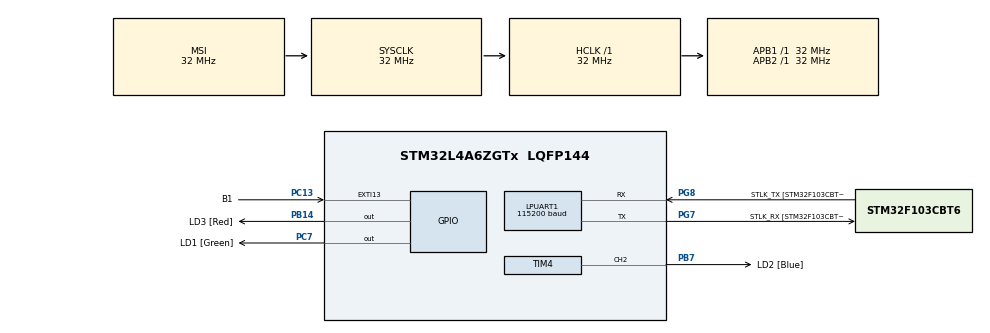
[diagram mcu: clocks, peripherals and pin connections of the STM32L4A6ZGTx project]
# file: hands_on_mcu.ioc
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LPUART1.AutoBaudRateEnableParam=UART_ADVFEATURE_AUTOBAUDRATE_DISABLE
LPUART1.BaudRate=115200
LPUART1.DMADisableonRxErrorParam=UART_ADVFEATURE_DMA_ENABLEONRXERROR
LPUART1.DataInvertParam=UART_ADVFEATURE_DATAINV_DISABLE
LPUART1.MSBFirstParam=UART_ADVFEATURE_MSBFIRST_DISABLE
LPUART1.Mode=UART_MODE_TX_RX
LPUART1.OneBitSampling=UART_ONE_BIT_SAMPLE_DISABLE
LPUART1.OverrunDisableParam=UART_ADVFEATURE_OVERRUN_ENABLE
LPUART1.Parity=UART_PARITY_NONE
LPUART1.RxPinLevelInvertParam=UART_ADVFEATURE_RXINV_DISABLE
LPUART1.StopBits=UART_STOPBITS_1
LPUART1.SwapParam=UART_ADVFEATURE_SWAP_DISABLE
LPUART1.TxPinLevelInvertParam=UART_ADVFEATURE_TXINV_DISABLE
LPUART1.WordLength=UART_WORDLENGTH_8B
Mcu.Family=STM32L4
Mcu.Name=STM32L4A6ZGTx
Mcu.Package=LQFP144
NVIC.EXTI15_10_IRQn=true\:0\:0\:false\:false\:true\:true\:true\:true
NVIC.PriorityGroup=NVIC_PRIORITYGROUP_4
PA13\ (JTMS/SWDIO).GPIO_Label=TMS
PA13\ (JTMS/SWDIO).Mode=Trace_Asynchronous_SW
PA13\ (JTMS/SWDIO).Signal=SYS_JTMS-SWDIO
PA14\ (JTCK/SWCLK).GPIO_Label=TCK
PA14\ (JTCK/SWCLK).Mode=Trace_Asynchronous_SW
PA14\ (JTCK/SWCLK).Signal=SYS_JTCK-SWCLK
PB14.GPIO_Label=LD3 [Red]
PB14.Signal=GPIO_Output
PB3\ (JTDO/TRACESWO).GPIO_Label=SWO
PB3\ (JTDO/TRACESWO).Mode=Trace_Asynchronous_SW
PB3\ (JTDO/TRACESWO).Signal=SYS_JTDO-SWO
PB7.Signal=S_TIM4_CH2
PC13.GPIO_Label=B1
PC13.Signal=GPXTI13
PB7.GPIO_Label=LD2 [Blue]
PC14-OSC32_IN\ (PC14).Mode=LSE-External-Oscillator
PC14-OSC32_IN\ (PC14).Signal=RCC_OSC32_IN
PC15-OSC32_OUT\ (PC15).Mode=LSE-External-Oscillator
PC15-OSC32_OUT\ (PC15).Signal=RCC_OSC32_OUT
PC7.GPIO_Label=LD1 [Green]
PC7.Signal=GPIO_Output
PG7.GPIO_Label=STLK_RX [STM32F103CBT6_PA3]
PG7.Mode=Asynchronous
PG7.Signal=LPUART1_TX
PG8.GPIO_Label=STLK_TX [STM32F103CBT6_PA2]
PG8.Mode=Asynchronous
PG8.Signal=LPUART1_RX
PH1-OSC_OUT\ (PH1).Signal=RCC_OSC_OUT
ProjectManager.HeapSize=0x200
ProjectManager.StackSize=0x400
ProjectManager.TargetToolchain=STM32CubeIDE
RCC.ADCFreq_Value=384000000
RCC.AHBFreq_Value=32000000
RCC.APB1Freq_Value=32000000
RCC.APB1TimFreq_Value=32000000
RCC.APB2Freq_Value=32000000
RCC.APB2TimFreq_Value=32000000
RCC.CortexFreq_Value=32000000
RCC.FLatency=FLASH_LATENCY_1
RCC.HCLKFreq_Value=32000000
RCC.HSE_VALUE=8000000
RCC.HSI48_VALUE=48000000
RCC.HSI_VALUE=16000000
RCC.MSIClockRange=RCC_MSIRANGE_10
RCC.MSI_VALUE=32000000
RCC.PLLN=71
RCC.PLLR=RCC_PLLR_DIV6
RCC.PLLSAI1N=24
RCC.SYSCLKFreq_VALUE=32000000
RCC.USBFreq_Value=384000000
RCC.VCOOutputFreq_Value=2272000000
SH.S_TIM4_CH2.0=TIM4_CH2,Output Compare2 CH2
TIM4.Channel-Output\ Compare2\ CH2=TIM_CHANNEL_2
TIM4.OCMode_2=TIM_OCMODE_TOGGLE
TIM4.Period=499
TIM4.Prescaler=31199
VP_TIM4_VS_ClockSourceINT.Mode=Internal
board=NUCLEO-L4A6ZG

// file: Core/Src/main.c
/* USER CODE BEGIN Header */
/**
  ******************************************************************************
  * @file           : main.c
  * @brief          : Main program body
  ******************************************************************************
  * @attention
  *
  * <h2><center>&copy; Copyright (c) 2021 STMicroelectronics.
  * All rights reserved.</center></h2>
  *
  * This software component is licensed by ST under BSD 3-Clause license,
  * the "License"; You may not use this file except in compliance with the
  * License. You may obtain a copy of the License at:
  *                        opensource.org/licenses/BSD-3-Clause
  *
  ******************************************************************************
  */
/* USER CODE END Header */
#include "main.h"
#include "usart.h"
#include "tim.h"
#include "gpio.h"

/* USER CODE BEGIN Includes */
#include <stdio.h>
#include "retarget.h""retarget.h"
/* USER CODE END Includes */

void SystemClock_Config(void);

/* USER CODE BEGIN 0 */
int blue_button = 0;
/* USER CODE END 0 */

int main(void)
{

  /* MCU Configuration--------------------------------------------------------*/

  /* Reset of all peripherals, Initializes the Flash interface and the Systick. */
  HAL_Init();

  /* Configure the system clock */
  SystemClock_Config();

  /* Initialize all configured peripherals */
  MX_GPIO_Init();
  MX_LPUART1_UART_Init();
  MX_TIM4_Init();
  /* USER CODE BEGIN 2 */
  RetargetInit(&hlpuart1);
  printf("Hello world!\r\n");

  /* USER CODE END 2 */

  /* Infinite loop */
  /* USER CODE BEGIN WHILE */
  while (1)
  {
<<<<<<< HEAD
<<<<<<< HEAD
<<<<<<< HEAD
<<<<<<< HEAD
<<<<<<< HEAD
<<<<<<< HEAD
<<<<<<< HEAD
<<<<<<< HEAD
<<<<<<< HEAD
<<<<<<< HEAD
<<<<<<< HEAD
<<<<<<< HEAD
<<<<<<< HEAD
<<<<<<< HEAD
<<<<<<< HEAD
<<<<<<< HEAD
<<<<<<< HEAD
<<<<<<< HEAD
<<<<<<< HEAD
<<<<<<< HEAD
<<<<<<< HEAD
<<<<<<< HEAD
<<<<<<< HEAD
<<<<<<< HEAD
<<<<<<< HEAD
<<<<<<< HEAD
<<<<<<< HEAD
<<<<<<< HEAD
<<<<<<< HEAD
<<<<<<< HEAD
<<<<<<< HEAD
<<<<<<< HEAD
<<<<<<< HEAD
<<<<<<< HEAD
<<<<<<< HEAD
<<<<<<< HEAD
<<<<<<< HEAD
<<<<<<< HEAD
<<<<<<< HEAD
<<<<<<< HEAD
<<<<<<< HEAD
<<<<<<< HEAD
<<<<<<< HEAD
<<<<<<< HEAD
<<<<<<< HEAD
<<<<<<< HEAD
<<<<<<< HEAD
<<<<<<< HEAD
<<<<<<< HEAD
<<<<<<< HEAD
<<<<<<< HEAD
<<<<<<< HEAD
<<<<<<< HEAD
<<<<<<< HEAD
<<<<<<< HEAD
=======
>>>>>>> 0bc45eb (hands on 2 code)
=======
>>>>>>> b4bd9b6 (Hands on 2a modified code and a smiley for Mathieu 👨‍❤️‍💋‍👨)
=======
>>>>>>> 7387a6f (hands on 2 code)
=======
>>>>>>> dffbce0 (Hands on 2a modified code and a smiley for Mathieu 👨‍❤️‍💋‍👨)
=======
>>>>>>> 3e45de6 (hands on 2 code)
=======
>>>>>>> b44abd4 (hands on 2 code)
=======
>>>>>>> dad352b (Hands on 2a modified code and a smiley for Mathieu 👨‍❤️‍💋‍👨)
=======
>>>>>>> 9976e44 (hands on 2 code)
=======
>>>>>>> a1342b2 (hands on 2 code)
=======
>>>>>>> 4ce6c36 (Hands on 2a modified code and a smiley for Mathieu 👨‍❤️‍💋‍👨)
=======
>>>>>>> 114bca7 (hands on 2 code)
=======
=======
=======
>>>>>>> 23f59fe0db3345a3c0d515744d902b87d726b5a9
>>>>>>> b66da5a3d91a15c5bdbb66ca5b1d08815b7e0e55
>>>>>>> e9d869fc335fa1630213bb1270206efea7efbfa6
	  //HAL_Delay(1);
	  //__WFI();
=======
=======
>>>>>>> bf0f14f (hands on 2 code)
<<<<<<< HEAD
<<<<<<< HEAD
<<<<<<< HEAD
=======
>>>>>>> e9d869fc335fa1630213bb1270206efea7efbfa6
=======
>>>>>>> f8a72b7 (hands on 2 code)
=======
>>>>>>> 023d92b (hands on 2 code)
<<<<<<< HEAD
<<<<<<< HEAD
=======
>>>>>>> e9d869fc335fa1630213bb1270206efea7efbfa6
=======
>>>>>>> 4657125 (hands on 2 code)
=======
>>>>>>> 7322888 (hands on 2 code)
=======
>>>>>>> e3ac280 (hands on 2 code)
=======
>>>>>>> c2432af (hands on 2 code)
<<<<<<< HEAD
=======
>>>>>>> bf0f14f (hands on 2 code)
=======
>>>>>>> f8a72b7 (hands on 2 code)
=======
>>>>>>> 023d92b (hands on 2 code)
=======
>>>>>>> 4657125 (hands on 2 code)
<<<<<<< HEAD
<<<<<<< HEAD
=======
>>>>>>> 7322888 (hands on 2 code)
=======
>>>>>>> e3ac280 (hands on 2 code)
<<<<<<< HEAD
<<<<<<< HEAD
=======
>>>>>>> c2432af (hands on 2 code)
=======
>>>>>>> ca2e54d (hands on 2 code)
=======
>>>>>>> 631f73f (hands on 2 code)
=======
>>>>>>> 8a80c09 (hands on 2 code)
=======
>>>>>>> 5c43933 (hands on 2 code)
=======
	  //HAL_Delay(1);
	  //__WFI();
=======
>>>>>>> 4ea202f (hands on 2 code)
=======
>>>>>>> 0bc45eb (hands on 2 code)
=======
=======
>>>>>>> f8a72b7 (hands on 2 code)
>>>>>>> 7387a6f (hands on 2 code)
=======
>>>>>>> 3e45de6 (hands on 2 code)
=======
>>>>>>> b44abd4 (hands on 2 code)
=======
=======
>>>>>>> 7322888 (hands on 2 code)
>>>>>>> 9976e44 (hands on 2 code)
=======
>>>>>>> a1342b2 (hands on 2 code)
=======
=======
>>>>>>> c2432af (hands on 2 code)
>>>>>>> 114bca7 (hands on 2 code)
=======
<<<<<<< HEAD
>>>>>>> e9d869fc335fa1630213bb1270206efea7efbfa6
=======
>>>>>>> bf0f14f (hands on 2 code)
=======
>>>>>>> f8a72b7 (hands on 2 code)
=======
>>>>>>> 023d92b (hands on 2 code)
=======
>>>>>>> 4657125 (hands on 2 code)
=======
>>>>>>> 7322888 (hands on 2 code)
=======
>>>>>>> e3ac280 (hands on 2 code)
=======
>>>>>>> c2432af (hands on 2 code)
<<<<<<< HEAD
=======
=======
>>>>>>> b66da5a3d91a15c5bdbb66ca5b1d08815b7e0e55
>>>>>>> e9d869fc335fa1630213bb1270206efea7efbfa6
//	  if (blue_button == 1) {
//		  HAL_TIM_OC_Start(&htim4, TIM_CHANNEL_2);
//	  } else {
//		  HAL_TIM_OC_Stop(&htim4, TIM_CHANNEL_2);
//	  }

<<<<<<< HEAD
<<<<<<< HEAD
<<<<<<< HEAD
<<<<<<< HEAD
<<<<<<< HEAD
<<<<<<< HEAD
<<<<<<< HEAD
<<<<<<< HEAD
<<<<<<< HEAD
<<<<<<< HEAD
<<<<<<< HEAD
<<<<<<< HEAD
<<<<<<< HEAD
<<<<<<< HEAD
<<<<<<< HEAD
<<<<<<< HEAD
<<<<<<< HEAD
<<<<<<< HEAD
<<<<<<< HEAD
<<<<<<< HEAD
<<<<<<< HEAD
<<<<<<< HEAD
<<<<<<< HEAD
<<<<<<< HEAD
<<<<<<< HEAD
<<<<<<< HEAD
<<<<<<< HEAD
<<<<<<< HEAD
<<<<<<< HEAD
<<<<<<< HEAD
<<<<<<< HEAD
<<<<<<< HEAD
<<<<<<< HEAD
<<<<<<< HEAD
=======
>>>>>>> 7387a6f (hands on 2 code)
=======
>>>>>>> 9976e44 (hands on 2 code)
=======
>>>>>>> a1342b2 (hands on 2 code)
=======
>>>>>>> 114bca7 (hands on 2 code)
=======
=======
>>>>>>> b66da5a3d91a15c5bdbb66ca5b1d08815b7e0e55
>>>>>>> e9d869fc335fa1630213bb1270206efea7efbfa6
>>>>>>> c2432af (hands on 2 code)
=======
>>>>>>> bf0f14f (hands on 2 code)
=======
	  //HAL_Delay(1);
	  //__WFI();
>>>>>>> 4857028 (Hands on 2a modified code and a smiley for Mathieu 👨‍❤️‍💋‍👨)
<<<<<<< HEAD
<<<<<<< HEAD
<<<<<<< HEAD
=======
>>>>>>> f8a72b7 (hands on 2 code)
=======
	  //HAL_Delay(1);
	  //__WFI();
>>>>>>> d79862a (Hands on 2a modified code and a smiley for Mathieu 👨‍❤️‍💋‍👨)
=======
>>>>>>> 023d92b (hands on 2 code)
=======
>>>>>>> 4657125 (hands on 2 code)
=======
	  //HAL_Delay(1);
	  //__WFI();
>>>>>>> 813067d (Hands on 2a modified code and a smiley for Mathieu 👨‍❤️‍💋‍👨)
=======
>>>>>>> 7322888 (hands on 2 code)
<<<<<<< HEAD
<<<<<<< HEAD
=======
>>>>>>> e3ac280 (hands on 2 code)
=======
	  //HAL_Delay(1);
	  //__WFI();
>>>>>>> 6f5b50f (Hands on 2a modified code and a smiley for Mathieu 👨‍❤️‍💋‍👨)
<<<<<<< HEAD
<<<<<<< HEAD
=======
=======
>>>>>>> 3e45de6 (hands on 2 code)
=======
>>>>>>> b44abd4 (hands on 2 code)
>>>>>>> c2432af (hands on 2 code)
=======
>>>>>>> bf0f14f (hands on 2 code)
=======
	  //HAL_Delay(1);
	  //__WFI();
>>>>>>> 4857028 (Hands on 2a modified code and a smiley for Mathieu 👨‍❤️‍💋‍👨)
=======
>>>>>>> f8a72b7 (hands on 2 code)
=======
	  //HAL_Delay(1);
	  //__WFI();
>>>>>>> d79862a (Hands on 2a modified code and a smiley for Mathieu 👨‍❤️‍💋‍👨)
<<<<<<< HEAD
<<<<<<< HEAD
=======
>>>>>>> 023d92b (hands on 2 code)
=======
>>>>>>> 4657125 (hands on 2 code)
<<<<<<< HEAD
<<<<<<< HEAD
=======
>>>>>>> dad352b (Hands on 2a modified code and a smiley for Mathieu 👨‍❤️‍💋‍👨)
=======
	  //HAL_Delay(1);
	  //__WFI();
>>>>>>> 813067d (Hands on 2a modified code and a smiley for Mathieu 👨‍❤️‍💋‍👨)
<<<<<<< HEAD
=======
>>>>>>> 7322888 (hands on 2 code)
=======
>>>>>>> e3ac280 (hands on 2 code)
=======
	  //HAL_Delay(1);
	  //__WFI();
>>>>>>> 6f5b50f (Hands on 2a modified code and a smiley for Mathieu 👨‍❤️‍💋‍👨)
=======
>>>>>>> c2432af (hands on 2 code)
=======
>>>>>>> ca2e54d (hands on 2 code)
=======
	  //HAL_Delay(1);
	  //__WFI();
>>>>>>> cde3d85 (Hands on 2a modified code and a smiley for Mathieu 👨‍❤️‍💋‍👨)
=======
>>>>>>> 631f73f (hands on 2 code)
=======
	  //HAL_Delay(1);
	  //__WFI();
>>>>>>> 307f066 (Hands on 2a modified code and a smiley for Mathieu 👨‍❤️‍💋‍👨)
=======
>>>>>>> 8a80c09 (hands on 2 code)
=======
	  //HAL_Delay(1);
	  //__WFI();
>>>>>>> 907c331 (Hands on 2a modified code and a smiley for Mathieu 👨‍❤️‍💋‍👨)
=======
>>>>>>> 5c43933 (hands on 2 code)
=======
	  //HAL_Delay(1);
	  //__WFI();
>>>>>>> 6337d93 (Hands on 2a modified code and a smiley for Mathieu 👨‍❤️‍💋‍👨)
=======
>>>>>>> c2432af (hands on 2 code)
>>>>>>> 4ea202f (hands on 2 code)
=======
>>>>>>> c2432af (hands on 2 code)
=======
>>>>>>> bf0f14f (hands on 2 code)
>>>>>>> 0bc45eb (hands on 2 code)
=======
>>>>>>> b4bd9b6 (Hands on 2a modified code and a smiley for Mathieu 👨‍❤️‍💋‍👨)
=======
=======
>>>>>>> f8a72b7 (hands on 2 code)
>>>>>>> 7387a6f (hands on 2 code)
=======
>>>>>>> dffbce0 (Hands on 2a modified code and a smiley for Mathieu 👨‍❤️‍💋‍👨)
=======
=======
>>>>>>> 023d92b (hands on 2 code)
>>>>>>> 3e45de6 (hands on 2 code)
=======
>>>>>>> b44abd4 (hands on 2 code)
=======
>>>>>>> dad352b (Hands on 2a modified code and a smiley for Mathieu 👨‍❤️‍💋‍👨)
=======
>>>>>>> 9976e44 (hands on 2 code)
=======
=======
>>>>>>> e3ac280 (hands on 2 code)
>>>>>>> a1342b2 (hands on 2 code)
=======
>>>>>>> 4ce6c36 (Hands on 2a modified code and a smiley for Mathieu 👨‍❤️‍💋‍👨)
=======
=======
>>>>>>> c2432af (hands on 2 code)
>>>>>>> 114bca7 (hands on 2 code)
=======
>>>>>>> bf0f14f (hands on 2 code)
=======
	  //HAL_Delay(1);
	  //__WFI();
>>>>>>> 4857028 (Hands on 2a modified code and a smiley for Mathieu 👨‍❤️‍💋‍👨)
=======
>>>>>>> e9d869fc335fa1630213bb1270206efea7efbfa6
=======
>>>>>>> f8a72b7 (hands on 2 code)
=======
	  //HAL_Delay(1);
	  //__WFI();
>>>>>>> d79862a (Hands on 2a modified code and a smiley for Mathieu 👨‍❤️‍💋‍👨)
=======
>>>>>>> 023d92b (hands on 2 code)
=======
>>>>>>> 4657125 (hands on 2 code)
=======
	  //HAL_Delay(1);
	  //__WFI();
>>>>>>> 813067d (Hands on 2a modified code and a smiley for Mathieu 👨‍❤️‍💋‍👨)
=======
>>>>>>> 7322888 (hands on 2 code)
=======
>>>>>>> e3ac280 (hands on 2 code)
=======
	  //HAL_Delay(1);
	  //__WFI();
>>>>>>> 6f5b50f (Hands on 2a modified code and a smiley for Mathieu 👨‍❤️‍💋‍👨)
=======
>>>>>>> c2432af (hands on 2 code)
<<<<<<< HEAD
=======
=======
<<<<<<< HEAD
>>>>>>> bf0f14f (hands on 2 code)
=======
	  //HAL_Delay(1);
	  //__WFI();
>>>>>>> 4857028 (Hands on 2a modified code and a smiley for Mathieu 👨‍❤️‍💋‍👨)
=======
>>>>>>> f8a72b7 (hands on 2 code)
=======
	  //HAL_Delay(1);
	  //__WFI();
>>>>>>> d79862a (Hands on 2a modified code and a smiley for Mathieu 👨‍❤️‍💋‍👨)
=======
>>>>>>> 023d92b (hands on 2 code)
=======
>>>>>>> 4657125 (hands on 2 code)
=======
	  //HAL_Delay(1);
	  //__WFI();
>>>>>>> 813067d (Hands on 2a modified code and a smiley for Mathieu 👨‍❤️‍💋‍👨)
=======
>>>>>>> 7322888 (hands on 2 code)
=======
>>>>>>> e3ac280 (hands on 2 code)
=======
	  //HAL_Delay(1);
	  //__WFI();
>>>>>>> 6f5b50f (Hands on 2a modified code and a smiley for Mathieu 👨‍❤️‍💋‍👨)
=======
>>>>>>> c2432af (hands on 2 code)
=======
	  //HAL_Delay(1);
	  //__WFI();
>>>>>>> 6bfb654aea6d168430009f7c99f49364789daa63
>>>>>>> b66da5a3d91a15c5bdbb66ca5b1d08815b7e0e55
>>>>>>> e9d869fc335fa1630213bb1270206efea7efbfa6
    /* USER CODE END WHILE */

  }
}

void SystemClock_Config(void)
{
  RCC_OscInitTypeDef RCC_OscInitStruct = {0};
  RCC_ClkInitTypeDef RCC_ClkInitStruct = {0};

  /** Configure the main internal regulator output voltage
  */
  if (HAL_PWREx_ControlVoltageScaling(PWR_REGULATOR_VOLTAGE_SCALE1) != HAL_OK)
  {
    Error_Handler();
  }

  /** Initializes the RCC Oscillators according to the specified parameters
  * in the RCC_OscInitTypeDef structure.
  */
  RCC_OscInitStruct.OscillatorType = RCC_OSCILLATORTYPE_MSI;
  RCC_OscInitStruct.MSIState = RCC_MSI_ON;
  RCC_OscInitStruct.MSICalibrationValue = 0;
  RCC_OscInitStruct.MSIClockRange = RCC_MSIRANGE_10;
  RCC_OscInitStruct.PLL.PLLState = RCC_PLL_NONE;
  if (HAL_RCC_OscConfig(&RCC_OscInitStruct) != HAL_OK)
  {
    Error_Handler();
  }

  /** Initializes the CPU, AHB and APB buses clocks
  */
  RCC_ClkInitStruct.ClockType = RCC_CLOCKTYPE_HCLK|RCC_CLOCKTYPE_SYSCLK
                              |RCC_CLOCKTYPE_PCLK1|RCC_CLOCKTYPE_PCLK2;
  RCC_ClkInitStruct.SYSCLKSource = RCC_SYSCLKSOURCE_MSI;
  RCC_ClkInitStruct.AHBCLKDivider = RCC_SYSCLK_DIV1;
  RCC_ClkInitStruct.APB1CLKDivider = RCC_HCLK_DIV1;
  RCC_ClkInitStruct.APB2CLKDivider = RCC_HCLK_DIV1;

  if (HAL_RCC_ClockConfig(&RCC_ClkInitStruct, FLASH_LATENCY_1) != HAL_OK)
  {
    Error_Handler();
  }
}

/* USER CODE BEGIN 4 */
void HAL_GPIO_EXTI_Callback(uint16_t GPIO_Pin) {
	if (GPIO_Pin == B1_Pin) {
	// Insert code to be executed in the interrupt
		if(blue_button == 0) {
			blue_button = 1;
		} else {
			blue_button = 0;
		}
	    if (blue_button == 1) {
		    HAL_TIM_OC_Start(&htim4, TIM_CHANNEL_2);
	    } else {
		    HAL_TIM_OC_Stop(&htim4, TIM_CHANNEL_2);
	  }
	}
<<<<<<< HEAD
<<<<<<< HEAD
<<<<<<< HEAD
<<<<<<< HEAD
<<<<<<< HEAD
<<<<<<< HEAD
<<<<<<< HEAD
<<<<<<< HEAD
<<<<<<< HEAD
<<<<<<< HEAD
<<<<<<< HEAD
<<<<<<< HEAD
<<<<<<< HEAD
<<<<<<< HEAD
<<<<<<< HEAD
<<<<<<< HEAD
<<<<<<< HEAD
<<<<<<< HEAD
<<<<<<< HEAD
<<<<<<< HEAD
<<<<<<< HEAD
<<<<<<< HEAD
<<<<<<< HEAD
<<<<<<< HEAD
<<<<<<< HEAD
<<<<<<< HEAD
<<<<<<< HEAD
<<<<<<< HEAD
<<<<<<< HEAD
<<<<<<< HEAD
<<<<<<< HEAD
=======
>>>>>>> b4bd9b6 (Hands on 2a modified code and a smiley for Mathieu 👨‍❤️‍💋‍👨)
=======
>>>>>>> b44abd4 (hands on 2 code)
=======
>>>>>>> 114bca7 (hands on 2 code)
=======
>>>>>>> e9d869fc335fa1630213bb1270206efea7efbfa6
=======

>>>>>>> bf0f14f (hands on 2 code)
=======
>>>>>>> 4857028 (Hands on 2a modified code and a smiley for Mathieu 👨‍❤️‍💋‍👨)
<<<<<<< HEAD
<<<<<<< HEAD
<<<<<<< HEAD
=======
>>>>>>> e9d869fc335fa1630213bb1270206efea7efbfa6
=======

>>>>>>> 4657125 (hands on 2 code)
=======
>>>>>>> 813067d (Hands on 2a modified code and a smiley for Mathieu 👨‍❤️‍💋‍👨)
=======

>>>>>>> e3ac280 (hands on 2 code)
=======
>>>>>>> 6f5b50f (Hands on 2a modified code and a smiley for Mathieu 👨‍❤️‍💋‍👨)
=======

>>>>>>> c2432af (hands on 2 code)
<<<<<<< HEAD
<<<<<<< HEAD
=======
>>>>>>> dad352b (Hands on 2a modified code and a smiley for Mathieu 👨‍❤️‍💋‍👨)
=======
>>>>>>> a1342b2 (hands on 2 code)
=======
>>>>>>> 4ce6c36 (Hands on 2a modified code and a smiley for Mathieu 👨‍❤️‍💋‍👨)
=======

>>>>>>> bf0f14f (hands on 2 code)
=======
>>>>>>> 4857028 (Hands on 2a modified code and a smiley for Mathieu 👨‍❤️‍💋‍👨)
=======

>>>>>>> 4657125 (hands on 2 code)
=======
>>>>>>> 813067d (Hands on 2a modified code and a smiley for Mathieu 👨‍❤️‍💋‍👨)
<<<<<<< HEAD
<<<<<<< HEAD
=======

>>>>>>> e3ac280 (hands on 2 code)
=======
>>>>>>> 6f5b50f (Hands on 2a modified code and a smiley for Mathieu 👨‍❤️‍💋‍👨)
<<<<<<< HEAD
=======

>>>>>>> c2432af (hands on 2 code)
=======

>>>>>>> ca2e54d (hands on 2 code)
=======
>>>>>>> cde3d85 (Hands on 2a modified code and a smiley for Mathieu 👨‍❤️‍💋‍👨)
=======
=======

>>>>>>> bf0f14f (hands on 2 code)
>>>>>>> 0bc45eb (hands on 2 code)
=======
>>>>>>> b4bd9b6 (Hands on 2a modified code and a smiley for Mathieu 👨‍❤️‍💋‍👨)
=======
=======

>>>>>>> 4657125 (hands on 2 code)
>>>>>>> b44abd4 (hands on 2 code)
=======
>>>>>>> dad352b (Hands on 2a modified code and a smiley for Mathieu 👨‍❤️‍💋‍👨)
=======
=======

>>>>>>> e3ac280 (hands on 2 code)
>>>>>>> a1342b2 (hands on 2 code)
=======
>>>>>>> 4ce6c36 (Hands on 2a modified code and a smiley for Mathieu 👨‍❤️‍💋‍👨)
=======
>>>>>>> 114bca7 (hands on 2 code)
=======
=======
>>>>>>> b66da5a3d91a15c5bdbb66ca5b1d08815b7e0e55
>>>>>>> e9d869fc335fa1630213bb1270206efea7efbfa6
=======

>>>>>>> bf0f14f (hands on 2 code)
=======
>>>>>>> 4857028 (Hands on 2a modified code and a smiley for Mathieu 👨‍❤️‍💋‍👨)
=======

>>>>>>> 4657125 (hands on 2 code)
=======
>>>>>>> 813067d (Hands on 2a modified code and a smiley for Mathieu 👨‍❤️‍💋‍👨)
=======

>>>>>>> e3ac280 (hands on 2 code)
=======
>>>>>>> 6f5b50f (Hands on 2a modified code and a smiley for Mathieu 👨‍❤️‍💋‍👨)
=======

>>>>>>> c2432af (hands on 2 code)
}

/* USER CODE END 4 */

void Error_Handler(void)
{
  __disable_irq();
  while (1)
  {
  }
}
